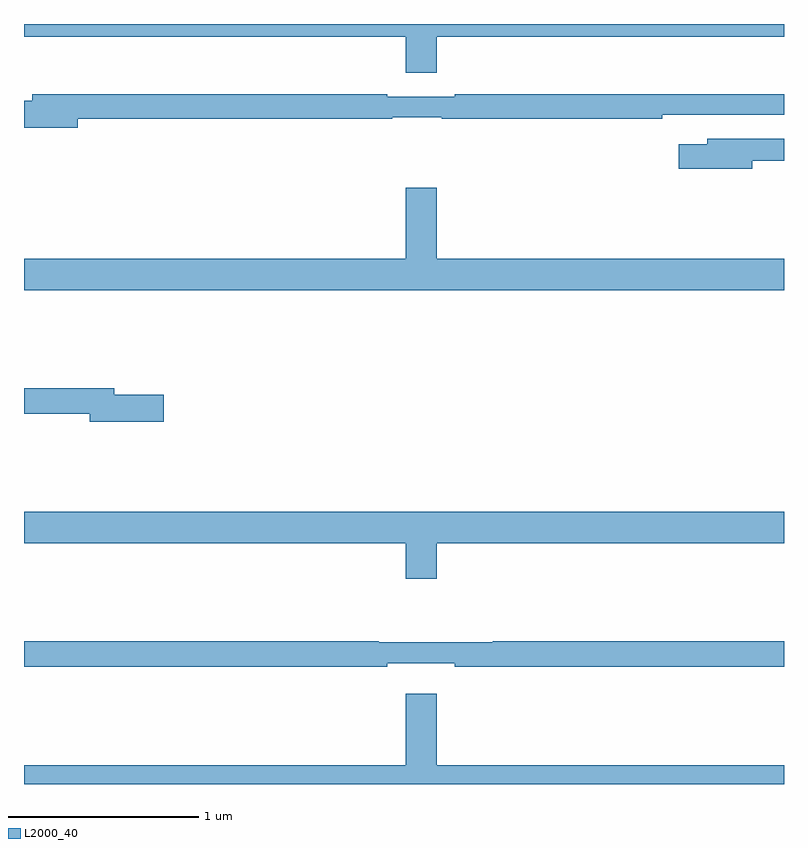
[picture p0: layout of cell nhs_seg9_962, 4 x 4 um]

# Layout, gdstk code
import gdstk
lib = gdstk.Library(unit=1e-6, precision=1e-09)
def P(c, l, *ps):  # polygons
    for p in ps: c.add(gdstk.Polygon(p, *l))
L2000_40 = (2000, 40)

nhs_seg9_962 = lib.new_cell('nhs_seg9_962')
P(nhs_seg9_962, L2000_40, [(165.172,1184.432),(167,1184.432),(167,1184.5),(163,1184.5),(163,1184.432),(165.008,1184.432),(165.008,1184.244),(165.172,1184.244)],
  [(163.282,1184.002),(164.938,1184.002),(164.938,1184.01),(165.198,1184.01),(165.198,1184.002),(166.358,1184.002),(166.358,1184.022),(167,1184.022),(167,1184.131),(165.268,1184.131),(165.268,1184.118),(164.912,1184.118),(164.912,1184.131),(163.043,1184.131),(163.043,1184.097),(163,1184.097),(163,1183.955),(163.282,1183.955)],
  [(166.834,1183.78),(167,1183.78),(167,1183.896),(166.595,1183.896),(166.595,1183.867),(166.446,1183.867),(166.446,1183.738),(166.834,1183.738)],
  [(167,1183.264),(165.172,1183.264),(165.172,1183.639),(165.008,1183.639),(165.008,1183.264),(163,1183.264),(163,1183.1),(167,1183.1)],
  [(163.735,1182.548),(163.474,1182.548),(163.474,1182.584),(163,1182.584),(163,1182.448),(163.346,1182.448),(163.346,1182.406),(163.735,1182.406)],
  [(165.172,1181.768),(167,1181.768),(167,1181.932),(163,1181.932),(163,1181.768),(165.008,1181.768),(165.008,1181.58),(165.172,1181.58)],
  [(164.912,1181.135),(165.268,1181.135),(165.268,1181.116),(167,1181.116),(167,1181.252),(165.466,1181.252),(165.466,1181.245),(164.866,1181.245),(164.866,1181.252),(163,1181.252),(163,1181.116),(164.912,1181.116)],
  [(167,1180.6),(165.172,1180.6),(165.172,1180.975),(165.008,1180.975),(165.008,1180.6),(163,1180.6),(163,1180.5),(167,1180.5)])

lib.write_gds('nhs_seg9_962.gds')
